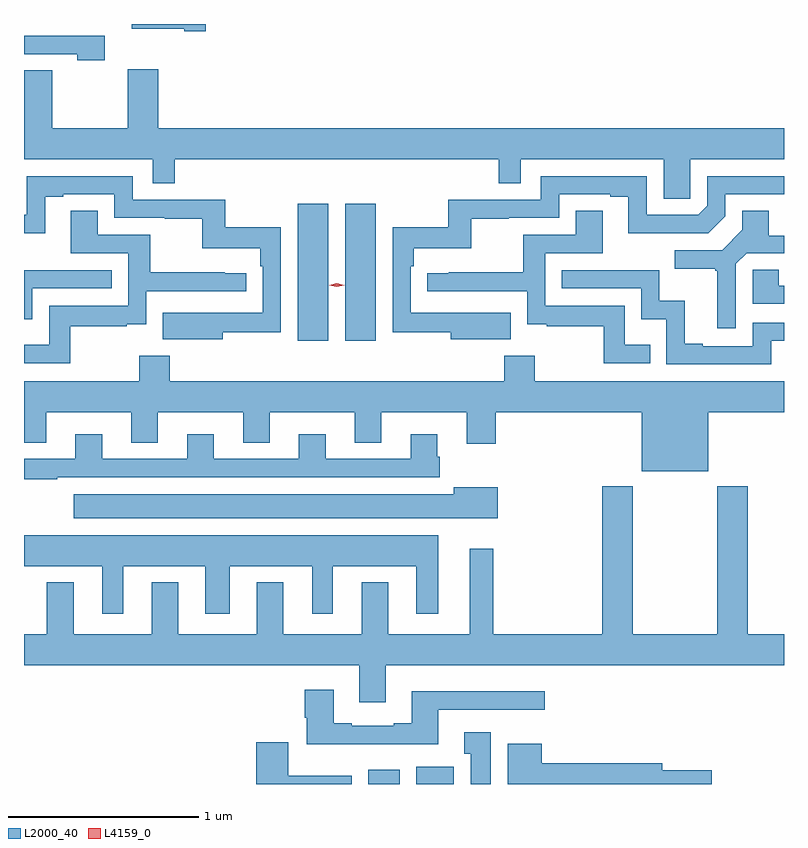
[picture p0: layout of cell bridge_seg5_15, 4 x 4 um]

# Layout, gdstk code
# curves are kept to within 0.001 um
import gdstk
lib = gdstk.Library(unit=1e-6, precision=1e-09)
def R(c, l, rs):  # rectangles x0, y0, x1, y1
    for r in rs: c.add(gdstk.rectangle(r[:2], r[2:], *l))
def P(c, l, *ps):  # polygons
    for p in ps: c.add(gdstk.Polygon(p, *l))
L2000_40 = (2000, 40)
L4159_0 = (4159, 0)

bridge_seg5_15 = lib.new_cell('bridge_seg5_15')
R(bridge_seg5_15, L2000_40, [(974.669,892.1,974.833,892.174), (974.921,892.1,975.118,892.192), (974.297,894.432,974.458,895.153), (974.546,894.432,974.707,895.153)])
P(bridge_seg5_15, L2000_40, [(973.813,896.1),(973.424,896.1),(973.424,896.075),(973.7,896.075),(973.7,896.063),(973.813,896.063)],
  [(973.282,896.037),(972.856,896.037),(972.856,895.941),(973.137,895.941),(973.137,895.909),(973.282,895.909)],
  [(976.362,895.388),(976.856,895.388),(976.856,895.552),(973.562,895.552),(973.562,895.861),(973.402,895.861),(973.402,895.552),(973.004,895.552),(973.004,895.856),(972.856,895.856),(972.856,895.388),(973.533,895.388),(973.533,895.261),(973.649,895.261),(973.649,895.388),(975.355,895.388),(975.355,895.261),(975.471,895.261),(975.471,895.388),(976.223,895.388),(976.223,895.18),(976.362,895.18)],
  [(975.419,894.58),(974.892,894.579),(974.892,894.824),(974.906,894.824),(974.906,894.92),(975.211,894.92),(975.211,895.075),(975.407,895.075),(975.407,895.08),(975.672,895.08),(975.672,895.203),(975.941,895.203),(975.941,895.191),(976.037,895.191),(976.037,894.998),(976.458,894.999),(976.548,895.089),(976.548,895.203),(976.856,895.203),(976.856,895.299),(976.452,895.299),(976.452,895.143),(976.404,895.095),(976.134,895.095),(976.134,895.299),(975.576,895.299),(975.576,895.176),(975.09,895.176),(975.09,895.03),(974.796,895.03),(974.796,894.478),(975.101,894.478),(975.101,894.44),(975.419,894.44)],
  [(973.903,894.478),(974.208,894.478),(974.208,895.03),(973.915,895.03),(973.915,895.176),(973.428,895.176),(973.428,895.299),(972.87,895.299),(972.87,895.095),(972.856,895.095),(972.856,894.998),(972.967,894.998),(972.967,895.191),(973.063,895.191),(973.063,895.203),(973.332,895.203),(973.332,895.08),(973.597,895.08),(973.597,895.075),(973.794,895.075),(973.794,894.92),(974.099,894.92),(974.099,894.824),(974.112,894.824),(974.112,894.579),(973.799,894.579),(973.799,894.58),(973.585,894.58),(973.585,894.44),(973.903,894.44)],
  [(973.099,894.51),(973.397,894.51),(973.397,894.521),(973.5,894.521),(973.5,894.693),(974.026,894.693),(974.026,894.789),(973.913,894.789),(973.913,894.794),(973.52,894.794),(973.52,894.99),(973.243,894.99),(973.243,895.118),(973.103,895.118),(973.103,894.894),(973.404,894.894),(973.404,894.618),(972.988,894.618),(972.988,894.412),(972.856,894.412),(972.856,894.315),(973.099,894.315)],
  [(976.602,894.837),(976.659,894.894),(976.856,894.894),(976.856,894.986),(976.777,894.986),(976.777,895.118),(976.637,895.118),(976.637,895.016),(976.53,894.909),(976.281,894.909),(976.281,894.812),(976.494,894.812),(976.494,894.801),(976.505,894.801),(976.505,894.498),(976.602,894.498)],
  [(976.151,894.412),(976.017,894.412),(976.017,894.618),(975.6,894.618),(975.6,894.894),(975.901,894.894),(975.901,895.118),(975.761,895.118),(975.761,894.99),(975.484,894.99),(975.484,894.794),(975.091,894.794),(975.091,894.789),(974.979,894.789),(974.979,894.693),(975.504,894.693),(975.504,894.521),(975.607,894.521),(975.607,894.51),(975.906,894.51),(975.906,894.315),(976.151,894.315)],
  [(976.856,894.723),(976.829,894.723),(976.829,894.807),(976.692,894.807),(976.692,894.627),(976.856,894.627)],
  [(972.9,894.708),(973.319,894.708),(973.319,894.804),(972.856,894.804),(972.856,894.545),(972.9,894.545)],
  [(976.788,894.432),(976.856,894.432),(976.856,894.528),(976.692,894.528),(976.692,894.405),(976.429,894.405),(976.429,894.418),(976.333,894.418),(976.333,894.643),(976.2,894.643),(976.2,894.804),(975.685,894.804),(975.685,894.708),(976.104,894.708),(976.104,894.545),(976.236,894.545),(976.236,894.309),(976.788,894.309)],
  [(976.456,894.056),(976.856,894.056),(976.856,894.22),(975.543,894.22),(975.543,894.355),(975.383,894.355),(975.383,894.22),(973.622,894.22),(973.622,894.355),(973.462,894.355),(973.462,894.22),(972.856,894.22),(972.856,893.896),(972.973,893.896),(972.973,894.056),(973.421,894.056),(973.421,893.896),(973.561,893.896),(973.561,894.056),(974.009,894.056),(974.009,893.896),(974.149,893.896),(974.149,894.056),(974.597,894.056),(974.597,893.896),(974.737,893.896),(974.737,894.056),(975.185,894.056),(975.185,893.892),(975.338,893.892),(975.338,894.056),(976.106,894.056),(976.106,893.747),(976.456,893.747)],
  [(973.031,893.715),(975.044,893.715),(975.044,893.823),(975.031,893.823),(975.031,893.941),(974.891,893.941),(974.891,893.811),(974.443,893.811),(974.443,893.941),(974.303,893.941),(974.303,893.811),(973.855,893.811),(973.855,893.941),(973.715,893.941),(973.715,893.811),(973.267,893.811),(973.267,893.941),(973.127,893.941),(973.127,893.811),(972.856,893.811),(972.856,893.703),(973.031,893.703)],
  [(974.761,892.724),(976.856,892.724),(976.856,892.888),(976.664,892.888),(976.664,893.668),(976.504,893.668),(976.504,892.888),(976.059,892.888),(976.059,893.668),(975.899,893.668),(975.899,892.888),(975.325,892.888),(975.325,893.338),(975.203,893.338),(975.203,892.888),(974.773,892.888),(974.773,893.161),(974.633,893.161),(974.633,892.888),(974.221,892.888),(974.221,893.161),(974.081,893.161),(974.081,892.888),(973.669,892.888),(973.669,893.161),(973.529,893.161),(973.529,892.888),(973.117,892.888),(973.117,893.161),(972.977,893.161),(972.977,892.888),(972.856,892.888),(972.856,892.724),(974.621,892.724),(974.621,892.53),(974.761,892.53)],
  [(975.349,893.662),(975.119,893.662),(975.119,893.626),(973.119,893.626),(973.119,893.498),(975.349,893.498)],
  [(973.378,893.246),(973.811,893.246),(973.811,892.995),(973.939,892.995),(973.939,893.246),(974.372,893.246),(974.372,892.995),(974.482,892.995),(974.482,893.246),(974.921,893.246),(974.921,892.995),(975.037,892.995),(975.037,893.41),(972.856,893.41),(972.856,893.246),(973.268,893.246),(973.268,892.995),(973.378,892.995)],
  [(975.037,892.491),(975.598,892.491),(975.598,892.588),(974.897,892.588),(974.897,892.42),(974.801,892.42),(974.801,892.407),(974.581,892.407),(974.581,892.42),(974.485,892.42),(974.485,892.597),(974.333,892.597),(974.333,892.449),(974.345,892.449),(974.345,892.31),(975.037,892.31)],
  [(975.313,892.372),(975.173,892.372),(975.173,892.259),(975.206,892.259),(975.206,892.1),(975.313,892.1)],
  [(974.581,892.144),(974.248,892.144),(974.248,892.321),(974.078,892.321),(974.078,892.1),(974.581,892.1)],
  [(976.477,892.172),(976.216,892.172),(976.216,892.208),(975.58,892.208),(975.58,892.312),(975.401,892.312),(975.401,892.1),(976.477,892.1)])
P(bridge_seg5_15, L4159_0, [(974.502,894.716),(974.463,894.725),(974.462,894.725),(974.463,894.726),(974.502,894.736),(974.541,894.726),(974.541,894.726),(974.541,894.725)])

lib.write_gds('bridge_seg5_15.gds')
